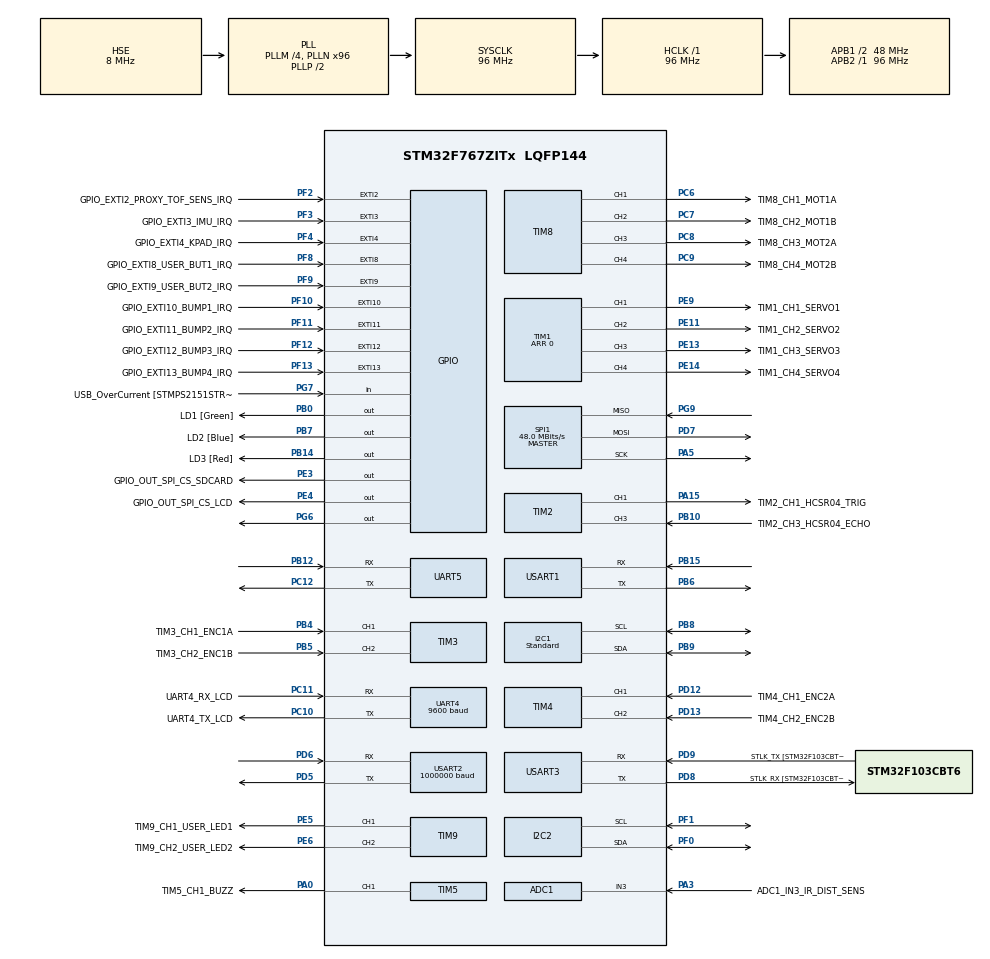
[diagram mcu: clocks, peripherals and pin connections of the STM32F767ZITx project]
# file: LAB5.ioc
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ADC1.Channel-1\#ChannelRegularConversion=ADC_CHANNEL_3
ADC1.NbrOfConversionFlag=1
ADC1.Rank-1\#ChannelRegularConversion=1
ADC1.SamplingTime-1\#ChannelRegularConversion=ADC_SAMPLETIME_3CYCLES
ADC1.master=1
FREERTOS.BinarySemaphores01=binarySemSync,Dynamic,NULL
FREERTOS.Tasks01=defaultTask,24,128,StartDefaultTask,Default,NULL,Dynamic,NULL,NULL;controlTask,48,128,StartControlTask,Default,NULL,Dynamic,NULL,NULL;lineTask,32,128,StartLineTask,Default,NULL,Dynamic,NULL,NULL;commTask,8,128,StartCommTask,Default,NULL,Dynamic,NULL,NULL
I2C1.I2C_Speed_Mode=I2C_Standard
I2C1.Timing=0x20303E5D
I2C2.Timing=0x20303E5D
Mcu.Family=STM32F7
Mcu.Name=STM32F767ZITx
Mcu.Package=LQFP144
Mcu.UserConstants=TIM3_ARR_VALUE,3839;TIM4_ARR_VALUE,3839;TIM8_PSC_VALUE,959;TIM8_ARR_VALUE,399;TIM6_PSC_VALUE,959;TIM6_ARR_VALUE,999;TIM1_PSC_VALUE,959;TIM1_ARR_VALUE,1999
NVIC.PriorityGroup=NVIC_PRIORITYGROUP_4
NVIC.TIM4_IRQn=true\:5\:0\:false\:false\:true\:true\:true\:true\:true
NVIC.TIM6_DAC_IRQn=true\:15\:0\:false\:false\:true\:false\:true\:true\:true
NVIC.TimeBase=TIM6_DAC_IRQn
NVIC.TimeBaseIP=TIM6
PA0/WKUP.GPIO_Label=TIM5_CH1_BUZZ
PA0/WKUP.Signal=S_TIM5_CH1
PA1.GPIO_Label=RMII_REF_CLK [LAN8742A-CZ-TR_REFCLK0]
PA1.Signal=ETH_REF_CLK
PA10.GPIO_Label=USB_ID
PA10.Signal=USB_OTG_FS_ID
PA11.GPIO_Label=USB_DM
PA11.Signal=USB_OTG_FS_DM
PA12.GPIO_Label=USB_DP
PA12.Signal=USB_OTG_FS_DP
PA13.GPIO_Label=TMS
PA13.Mode=Serial_Wire
PA13.Signal=SYS_JTMS-SWDIO
PA14.GPIO_Label=TCK
PA14.Mode=Serial_Wire
PA14.Signal=SYS_JTCK-SWCLK
PA15.GPIO_Label=TIM2_CH1_HCSR04_TRIG
PA15.Signal=S_TIM2_CH1_ETR
PA2.GPIO_Label=RMII_MDIO [LAN8742A-CZ-TR_MDIO]
PA2.Signal=ETH_MDIO
PA3.GPIO_Label=ADC1_IN3_IR_DIST_SENS
PA3.Signal=ADCx_IN3
PA5.Mode=Full_Duplex_Master
PA5.Signal=SPI1_SCK
PA7.GPIO_Label=RMII_CRS_DV [LAN8742A-CZ-TR_CRS_DV]
PA7.Signal=ETH_CRS_DV
PA8.GPIO_Label=USB_SOF [TP1]
PA8.Signal=USB_OTG_FS_SOF
PA9.GPIO_Label=USB_VBUS
PA9.Signal=USB_OTG_FS_VBUS
PB0.GPIO_Label=LD1 [Green]
PB0.Signal=GPIO_Output
PB10.GPIO_Label=TIM2_CH3_HCSR04_ECHO
PB10.Signal=S_TIM2_CH3
PB12.Mode=Asynchronous
PB12.Signal=UART5_RX
PB13.GPIO_Label=RMII_TXD1 [LAN8742A-CZ-TR_TXD1]
PB13.Signal=ETH_TXD1
PB14.GPIO_Label=LD3 [Red]
PB14.Signal=GPIO_Output
PB15.Mode=Asynchronous
PB15.Signal=USART1_RX
PB3.GPIO_Label=SWO
PB3.Signal=SYS_JTDO-SWO
PB4.GPIO_Label=TIM3_CH1_ENC1A
PB4.Signal=S_TIM3_CH1
PB5.GPIO_Label=TIM3_CH2_ENC1B
PB5.Signal=S_TIM3_CH2
PB6.Mode=Asynchronous
PB6.Signal=USART1_TX
PB7.GPIO_Label=LD2 [Blue]
PB7.Signal=GPIO_Output
PB8.GPIO_Pu=GPIO_PULLUP
PB8.Mode=I2C
PB8.Signal=I2C1_SCL
PB9.GPIO_Pu=GPIO_PULLUP
PB9.Mode=I2C
PB9.Signal=I2C1_SDA
PC1.GPIO_Label=RMII_MDC [LAN8742A-CZ-TR_MDC]
PC1.Signal=ETH_MDC
PC10.GPIO_Label=UART4_TX_LCD
PC10.Mode=Asynchronous
PC10.Signal=UART4_TX
PC11.GPIO_Label=UART4_RX_LCD
PC11.Mode=Asynchronous
PC11.Signal=UART4_RX
PC12.Mode=Asynchronous
PC12.Signal=UART5_TX
PC14/OSC32_IN.Mode=LSE-External-Oscillator
PC14/OSC32_IN.Signal=RCC_OSC32_IN
PC15/OSC32_OUT.Mode=LSE-External-Oscillator
PC15/OSC32_OUT.Signal=RCC_OSC32_OUT
PC4.GPIO_Label=RMII_RXD0 [LAN8742A-CZ-TR_RXD0]
PC4.Signal=ETH_RXD0
PC5.GPIO_Label=RMII_RXD1 [LAN8742A-CZ-TR_RXD1]
PC5.Signal=ETH_RXD1
PC6.GPIO_Label=TIM8_CH1_MOT1A
PC6.Signal=S_TIM8_CH1
PC7.GPIO_Label=TIM8_CH2_MOT1B
PC7.Signal=S_TIM8_CH2
PC8.GPIO_Label=TIM8_CH3_MOT2A
PC8.Signal=S_TIM8_CH3
PC9.GPIO_Label=TIM8_CH4_MOT2B
PC9.Signal=S_TIM8_CH4
PD12.GPIO_Label=TIM4_CH1_ENC2A
PD12.Signal=S_TIM4_CH1
PD13.GPIO_Label=TIM4_CH2_ENC2B
PD13.Signal=S_TIM4_CH2
PD5.Mode=Asynchronous
PD5.Signal=USART2_TX
PD6.Mode=Asynchronous
PD6.Signal=USART2_RX
PD7.Mode=Full_Duplex_Master
PD7.Signal=SPI1_MOSI
PD8.GPIO_Label=STLK_RX [STM32F103CBT6_PA3]
PD8.Mode=Asynchronous
PD8.Signal=USART3_TX
PD9.GPIO_Label=STLK_TX [STM32F103CBT6_PA2]
PD9.Mode=Asynchronous
PD9.Signal=USART3_RX
PE11.GPIO_Label=TIM1_CH2_SERVO2
PE11.Signal=S_TIM1_CH2
PE13.GPIO_Label=TIM1_CH3_SERVO3
PE13.Signal=S_TIM1_CH3
PE14.GPIO_Label=TIM1_CH4_SERVO4
PE14.Signal=S_TIM1_CH4
PE3.GPIO_Label=GPIO_OUT_SPI_CS_SDCARD
PE3.Signal=GPIO_Output
PE4.GPIO_Label=GPIO_OUT_SPI_CS_LCD
PE4.Signal=GPIO_Output
PE5.GPIO_Label=TIM9_CH1_USER_LED1
PE5.Signal=S_TIM9_CH1
PE6.GPIO_Label=TIM9_CH2_USER_LED2
PE6.Signal=S_TIM9_CH2
PE9.GPIO_Label=TIM1_CH1_SERVO1
PE9.Signal=S_TIM1_CH1
PF0.GPIO_Pu=GPIO_PULLUP
PF0.Mode=I2C
PF0.Signal=I2C2_SDA
PF1.GPIO_Pu=GPIO_PULLUP
PF1.Mode=I2C
PF1.Signal=I2C2_SCL
PF10.GPIO_Label=GPIO_EXTI10_BUMP1_IRQ
PF10.Signal=GPXTI10
PF11.GPIO_Label=GPIO_EXTI11_BUMP2_IRQ
PF11.Signal=GPXTI11
PF12.GPIO_Label=GPIO_EXTI12_BUMP3_IRQ
PF12.Signal=GPXTI12
PF13.GPIO_Label=GPIO_EXTI13_BUMP4_IRQ
PF13.Signal=GPXTI13
PF2.GPIO_Label=GPIO_EXTI2_PROXY_TOF_SENS_IRQ
PF2.Signal=GPXTI2
PF3.GPIO_Label=GPIO_EXTI3_IMU_IRQ
PF3.Signal=GPXTI3
PF4.GPIO_Label=GPIO_EXTI4_KPAD_IRQ
PF4.Signal=GPXTI4
PF8.GPIO_Label=GPIO_EXTI8_USER_BUT1_IRQ
PF8.Signal=GPXTI8
PF9.GPIO_Label=GPIO_EXTI9_USER_BUT2_IRQ
PF9.Signal=GPXTI9
PG11.GPIO_Label=RMII_TX_EN [LAN8742A-CZ-TR_TXEN]
PG11.Signal=ETH_TX_EN
PG13.GPIO_Label=RMII_TXD0 [LAN8742A-CZ-TR_TXD0]
PG13.Signal=ETH_TXD0
PG6.Signal=GPIO_Output
PG7.GPIO_Label=USB_OverCurrent [STMPS2151STR_FAULT]
PG7.Signal=GPIO_Input
PG9.Mode=Full_Duplex_Master
PG9.Signal=SPI1_MISO
PH0/OSC_IN.GPIO_Label=MCO [STM32F103CBT6_PA8]
PH0/OSC_IN.Mode=HSE-External-Clock-Source
PH0/OSC_IN.Signal=RCC_OSC_IN
PH1/OSC_OUT.Mode=HSE-External-Clock-Source
PH1/OSC_OUT.Signal=RCC_OSC_OUT
ProjectManager.HeapSize=0x200
ProjectManager.StackSize=0x400
ProjectManager.TargetToolchain=STM32CubeIDE
RCC.48MHZClocksFreq_Value=24000000
RCC.AHBFreq_Value=96000000
RCC.APB1CLKDivider=RCC_HCLK_DIV2
RCC.APB1Freq_Value=48000000
RCC.APB1TimFreq_Value=96000000
RCC.APB2Freq_Value=96000000
RCC.APB2TimFreq_Value=96000000
RCC.CortexFreq_Value=96000000
RCC.HCLKFreq_Value=96000000
RCC.HSE_VALUE=8000000
RCC.HSI_VALUE=16000000
RCC.PLLM=4
RCC.PLLMUL=RCC_PLL_MUL9
RCC.PLLN=96
RCC.PLLQ=4
RCC.PLLSourceVirtual=RCC_PLLSOURCE_HSE
RCC.PRESCALERUSB=RCC_USBCLKSOURCE_PLL_DIV1_5
RCC.SYSCLKFreq_VALUE=96000000
RCC.SYSCLKSource=RCC_SYSCLKSOURCE_PLLCLK
RCC.SYSCLKSourceVirtual=RCC_SYSCLKSOURCE_PLLCLK
RCC.USBFreq_Value=48000000
RCC.VCOOutputFreq_Value=192000000
SH.ADCx_IN3.0=ADC1_IN3,IN3
SH.S_TIM1_CH1.0=TIM1_CH1,Forced Output1 CH1
SH.S_TIM1_CH2.0=TIM1_CH2,Forced Output2 CH2
SH.S_TIM1_CH3.0=TIM1_CH3,Forced Output3 CH3
SH.S_TIM1_CH4.0=TIM1_CH4,Forced Output4 CH4
SH.S_TIM2_CH1_ETR.0=TIM2_CH1,PWM Generation1 CH1
SH.S_TIM2_CH3.0=TIM2_CH3,Input_Capture3_from_TI3
SH.S_TIM3_CH1.0=TIM3_CH1,Encoder_Interface
SH.S_TIM3_CH2.0=TIM3_CH2,Encoder_Interface
SH.S_TIM4_CH1.0=TIM4_CH1,Encoder_Interface
SH.S_TIM4_CH2.0=TIM4_CH2,Encoder_Interface
SH.S_TIM5_CH1.0=TIM5_CH1,PWM Generation1 CH1
SH.S_TIM8_CH1.0=TIM8_CH1,PWM Generation1 CH1
SH.S_TIM8_CH2.0=TIM8_CH2,PWM Generation2 CH2
SH.S_TIM8_CH3.0=TIM8_CH3,PWM Generation3 CH3
SH.S_TIM8_CH4.0=TIM8_CH4,PWM Generation4 CH4
SH.S_TIM9_CH1.0=TIM9_CH1,PWM Generation1 CH1
SH.S_TIM9_CH2.0=TIM9_CH2,PWM Generation2 CH2
SPI1.CalculateBaudRate=48.0 MBits/s
SPI1.Direction=SPI_DIRECTION_2LINES
SPI1.Mode=SPI_MODE_MASTER
SPI1.VirtualType=VM_MASTER
TIM1.Channel-Forced\ Output1\ CH1=TIM_CHANNEL_1
TIM1.Channel-Forced\ Output2\ CH2=TIM_CHANNEL_2
TIM1.Channel-Forced\ Output3\ CH3=TIM_CHANNEL_3
TIM1.Channel-Forced\ Output4\ CH4=TIM_CHANNEL_4
TIM1.OCPolarity_1=TIM_OCPOLARITY_LOW
TIM1.OCPolarity_2=TIM_OCPOLARITY_LOW
TIM1.OCPolarity_3=TIM_OCPOLARITY_LOW
TIM1.OCPolarity_4=TIM_OCPOLARITY_LOW
TIM1.Period=0
TIM2.Channel-Input_Capture3_from_TI3=TIM_CHANNEL_3
TIM2.Channel-PWM\ Generation1\ CH1=TIM_CHANNEL_1
TIM3.EncoderMode=TIM_ENCODERMODE_TI12
TIM3.IC1Filter=15
TIM3.IC2Filter=15
TIM3.Period=TIM3_ARR_VALUE
TIM4.EncoderMode=TIM_ENCODERMODE_TI12
TIM4.IC1Filter=15
TIM4.IC2Filter=15
TIM4.Period=TIM4_ARR_VALUE
TIM5.Channel-PWM\ Generation1\ CH1=TIM_CHANNEL_1
TIM8.Channel-PWM\ Generation1\ CH1=TIM_CHANNEL_1
TIM8.Channel-PWM\ Generation2\ CH2=TIM_CHANNEL_2
TIM8.Channel-PWM\ Generation3\ CH3=TIM_CHANNEL_3
TIM8.Channel-PWM\ Generation4\ CH4=TIM_CHANNEL_4
TIM8.Period=TIM8_ARR_VALUE
TIM8.Prescaler=TIM8_PSC_VALUE
TIM9.Channel-PWM\ Generation1\ CH1=TIM_CHANNEL_1
TIM9.Channel-PWM\ Generation2\ CH2=TIM_CHANNEL_2
UART4.BaudRate=9600
USART1.VirtualMode-Asynchronous=VM_ASYNC
USART2.BaudRate=1000000
USART2.VirtualMode-Asynchronous=VM_ASYNC
USART3.VirtualMode-Asynchronous=VM_ASYNC
VP_FREERTOS_VS_CMSIS_V2.Mode=CMSIS_V2
VP_SYS_VS_tim6.Mode=TIM6
VP_TIM1_VS_ClockSourceINT.Mode=Internal
VP_TIM2_VS_ClockSourceINT.Mode=Internal
VP_TIM5_VS_ClockSourceINT.Mode=Internal
VP_TIM8_VS_ClockSourceINT.Mode=Internal
board=NUCLEO-F767ZI

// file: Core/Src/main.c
/* USER CODE BEGIN Header */
/**
  ******************************************************************************
  * @file           : main.c
  * @brief          : Main program body
  ******************************************************************************
  * @attention
  *
  * <h2><center>&copy; Copyright (c) 2021 STMicroelectronics.
  * All rights reserved.</center></h2>
  *
  * This software component is licensed by ST under BSD 3-Clause license,
  * the "License"; You may not use this file except in compliance with the
  * License. You may obtain a copy of the License at:
  *                        opensource.org/licenses/BSD-3-Clause
  *
  ******************************************************************************
  */
/* USER CODE END Header */
#include "main.h"
#include "cmsis_os.h"

/* USER CODE BEGIN Includes */
#include <math.h>
#include <stdbool.h>
#include <stdlib.h>
#include "ertc-datalogger.h"
#include "SX1509_Registers.h"
/* USER CODE END Includes */

/* USER CODE BEGIN PD */

#define TS	0.01

#define VBATT	8.0
#define V2DUTY	((float)(TIM8_ARR_VALUE+1)/VBATT)
#define DUTY2V	((float)VBATT/(TIM8_ARR_VALUE+1))

#define RPM2RADS	2*M_PI/60
/* USER CODE END PD */

ADC_HandleTypeDef hadc1;

I2C_HandleTypeDef hi2c1;
I2C_HandleTypeDef hi2c2;

SPI_HandleTypeDef hspi1;

TIM_HandleTypeDef htim1;
TIM_HandleTypeDef htim2;
TIM_HandleTypeDef htim3;
TIM_HandleTypeDef htim4;
TIM_HandleTypeDef htim5;
TIM_HandleTypeDef htim8;
TIM_HandleTypeDef htim9;

UART_HandleTypeDef huart4;
UART_HandleTypeDef huart5;
UART_HandleTypeDef huart1;
UART_HandleTypeDef huart2;
UART_HandleTypeDef huart3;

/* Definitions for defaultTask */
osThreadId_t defaultTaskHandle;
const osThreadAttr_t defaultTask_attributes = {
  .name = "defaultTask",
  .stack_size = 128 * 4,
  .priority = (osPriority_t) osPriorityNormal,
};
/* Definitions for controlTask */
osThreadId_t controlTaskHandle;
const osThreadAttr_t controlTask_attributes = {
  .name = "controlTask",
  .stack_size = 128 * 4,
  .priority = (osPriority_t) osPriorityRealtime,
};
/* Definitions for lineTask */
osThreadId_t lineTaskHandle;
const osThreadAttr_t lineTask_attributes = {
  .name = "lineTask",
  .stack_size = 128 * 4,
  .priority = (osPriority_t) osPriorityAboveNormal,
};
/* Definitions for commTask */
osThreadId_t commTaskHandle;
const osThreadAttr_t commTask_attributes = {
  .name = "commTask",
  .stack_size = 128 * 4,
  .priority = (osPriority_t) osPriorityLow,
};
/* Definitions for binarySemSync */
osSemaphoreId_t binarySemSyncHandle;
const osSemaphoreAttr_t binarySemSync_attributes = {
  .name = "binarySemSync"
};
/* USER CODE BEGIN PV */
struct ertc_dlog logger;

uint16_t SX1509_I2C_ADDR1 = 0x3E;
uint16_t SX1509_I2C_ADDR2 = 0x3F;
uint32_t I2C_TIMEOUT = 200;

const char keypadLayout[4][4] = {
    {'*', '0', '#', 'D'},
    {'7', '8', '9', 'C'},
    {'4', '5', '6', 'B'},
    {'1', '2', '3', 'A'}};
/* USER CODE END PV */

void SystemClock_Config(void);
static void MX_GPIO_Init(void);
static void MX_USART3_UART_Init(void);
static void MX_ADC1_Init(void);
static void MX_I2C1_Init(void);
static void MX_I2C2_Init(void);
static void MX_SPI1_Init(void);
static void MX_TIM1_Init(void);
static void MX_TIM2_Init(void);
static void MX_TIM3_Init(void);
static void MX_TIM4_Init(void);
static void MX_TIM5_Init(void);
static void MX_TIM8_Init(void);
static void MX_UART4_Init(void);
static void MX_UART5_Init(void);
static void MX_USART1_UART_Init(void);
static void MX_USART2_UART_Init(void);
static void MX_TIM9_Init(void);
void StartDefaultTask(void *argument);
void StartControlTask(void *argument);
void StartLineTask(void *argument);
void StartCommTask(void *argument);

/* USER CODE BEGIN PFP */
extern void initialise_monitor_handles(void);
/* USER CODE END PFP */

/* USER CODE BEGIN 0 */

#define D 0.165
#define H 0.085
#define R 0.034
#define P 0.008
#define V 0.1

//const float Kp = 1.0;
//const float Ki = 15.0;
//const float Kw = 2.0;
float Kp = 0.489;		// 1
float Ki = 0.64;
float Kw = 8.0;
float Ky = 0.0;

float reference_r = 0.0;
float reference_l = 0.0;

float w_r = 0.0;
float w_l = 0.0;

float error_r = 0.0;
float error_l = 0.0;

float SL_error = 0.0;

struct datalog {
	float reference_r, w_r, error_r;
	float reference_l, w_l, error_l;
	float e_sl;
} data_log;

float compute_speed(TIM_HandleTypeDef* htim, uint32_t* TIM_PreviousCount, uint32_t TIM_ARR_VALUE) {

	uint32_t TIM_CurrentCount = __HAL_TIM_GET_COUNTER(htim);
	int32_t TIM_DiffCount;

	// evaluate increment of TIM counter from previous count
	if (__HAL_TIM_IS_TIM_COUNTING_DOWN(htim)) {
		// check for counter underflow
		if (TIM_CurrentCount <= *TIM_PreviousCount)
			TIM_DiffCount = TIM_CurrentCount - *TIM_PreviousCount;
		else
			TIM_DiffCount = -((TIM_ARR_VALUE+1) - TIM_CurrentCount) - *TIM_PreviousCount;
	} else {
		// check for counter overflow
		if (TIM_CurrentCount >= *TIM_PreviousCount)
			TIM_DiffCount = TIM_CurrentCount - *TIM_PreviousCount;
		else
			TIM_DiffCount = ((TIM_ARR_VALUE+1) - *TIM_PreviousCount) + TIM_CurrentCount;
	}

	*TIM_PreviousCount = TIM_CurrentCount;

	//	Return speed in rpm
	float speed_rads = ((2*M_PI*120)/(3840.0*TS))*(float)TIM_DiffCount;
	float speed_rpm = speed_rads/RPM2RADS;

	return speed_rpm;
}

float saturate(float u, float min, float max) {
	if (u > max) return max;
	if (u < min) return min;
	return u;
}

float PI(float error, float* u_int, bool antiwindup) {
	float u_p = Kp*error;
	*u_int += Ki*error*TS;

	float u = u_p + *u_int;

	if (antiwindup) {
		float saturation = u - saturate(u, 1-VBATT, VBATT-1);
		*u_int -= saturation*Kw*TS;
		u = u_p + *u_int;
	}

	return saturate(u, 1-VBATT, VBATT-1);
}

void set_motor_speed(TIM_HandleTypeDef* htim, uint32_t channel_1, uint32_t channel_2, uint32_t duty, bool fwd_coast) {
    if (duty >= 0) {
        if (fwd_coast) {
            // alternate between forward and coast
            __HAL_TIM_SET_COMPARE(htim, channel_1, (uint32_t)duty);
            __HAL_TIM_SET_COMPARE(htim, channel_2, 0);
        } else {
            // alternate between forward and brake, TIM8_ARR_VALUE is a define
            __HAL_TIM_SET_COMPARE(htim, channel_1, (uint32_t)TIM8_ARR_VALUE);
            __HAL_TIM_SET_COMPARE(htim, channel_2, TIM8_ARR_VALUE - duty);
        }
    } else { // rotate backward
        if (fwd_coast) {
            __HAL_TIM_SET_COMPARE(htim, channel_1, 0);
            __HAL_TIM_SET_COMPARE(htim, channel_2, (uint32_t) - duty);
        } else {
            __HAL_TIM_SET_COMPARE(htim, channel_1, TIM8_ARR_VALUE + duty);
            __HAL_TIM_SET_COMPARE(htim, channel_2, (uint32_t)TIM8_ARR_VALUE);
        }
    }
}

float compute_SL_error() {
	uint8_t line_sensor_data = 0;

	HAL_I2C_Mem_Read(&hi2c1, SX1509_I2C_ADDR1 << 1, REG_DATA_B, 1, &line_sensor_data, 1, I2C_TIMEOUT);

	static uint8_t sensor_array[8] = {0, 0, 0, 1, 1, 0, 0, 0};

	float den_sum = 0.0;
	float num_sum = 0.0;

	if (line_sensor_data != 0) {
		for (uint8_t i=0; i<8; i++) {
			sensor_array[i] = line_sensor_data & 1;
			line_sensor_data >>= 1;
		}
	}

	for (uint8_t i=0; i<8; i++) {
		num_sum += (float)sensor_array[i]*(3.5 - i)*P;
		den_sum += (float)sensor_array[i];
	}

	return num_sum/den_sum;
}

float linear_controller(float input, float K) {
	return input*K;
}

float speed_controller(float SL_error, float max_speed) {
	float cV = max_speed;

	if(fabs(SL_error) > 0.01)
		cV = max_speed*(-5*SL_error + 1.5);

	return cV;
}

void complex_controller(float SL_error) {
	if(fabs(SL_error) > 0.01 && fabs(SL_error) < 0.02) {
		Kp = 1.0;
		Ki = 4.0;
		Ky = 6.0;
	} else if (fabs(SL_error) > 0.02) {
		// DEFAULT VALUES TO IMPLEMENT
	}
}

/* USER CODE END 0 */

int main(void)
{
  /* USER CODE BEGIN 1 */
  uint8_t data;
  /* USER CODE END 1 */

  /* MCU Configuration--------------------------------------------------------*/

  /* Reset of all peripherals, Initializes the Flash interface and the Systick. */
  HAL_Init();

  /* Configure the system clock */
  SystemClock_Config();

  /* USER CODE BEGIN SysInit */
  initialise_monitor_handles();
  /* USER CODE END SysInit */

  /* Initialize all configured peripherals */
  MX_GPIO_Init();
  MX_USART3_UART_Init();
  MX_ADC1_Init();
  MX_I2C1_Init();
  MX_I2C2_Init();
  MX_SPI1_Init();
  MX_TIM1_Init();
  MX_TIM2_Init();
  MX_TIM3_Init();
  MX_TIM4_Init();
  MX_TIM5_Init();
  MX_TIM8_Init();
  MX_UART4_Init();
  MX_UART5_Init();
  MX_USART1_UART_Init();
  MX_USART2_UART_Init();
  MX_TIM9_Init();
  /* USER CODE BEGIN 2 */
  /* Disable LCD SPI SS */

  HAL_GPIO_WritePin(GPIO_OUT_SPI_CS_LCD_GPIO_Port, GPIO_OUT_SPI_CS_LCD_Pin, GPIO_PIN_SET);

  /* Disable EXTI4_IRQ during SX1509 initialization */
  HAL_NVIC_DisableIRQ(EXTI4_IRQn);

  /* Software reset */
  data = 0x12;
  HAL_I2C_Mem_Write(&hi2c1, SX1509_I2C_ADDR2 << 1, REG_RESET, 1, &data, 1, I2C_TIMEOUT);

  data = 0x34;
  HAL_I2C_Mem_Write(&hi2c1, SX1509_I2C_ADDR2 << 1, REG_RESET, 1, &data, 1, I2C_TIMEOUT);

  HAL_Delay(100);

  /* Set KeyPad scanning engine */

  /* Set RegClock to 0x40 (enable internal oscillator; 2MHz freq) */
  data = 0x40;
  HAL_I2C_Mem_Write(&hi2c1, SX1509_I2C_ADDR2 << 1, REG_CLOCK, 1, &data, 1, I2C_TIMEOUT);

  /* Set Bank A RegDir to 0xF0 (IO[0:3] as out) */
  data = 0xF0;
  HAL_I2C_Mem_Write(&hi2c1, SX1509_I2C_ADDR2 << 1, REG_DIR_A, 1, &data, 1, I2C_TIMEOUT);

  /* Set Bank B RegDir to 0x0F (IO[8:11] as in) */
  data = 0x0F;
  HAL_I2C_Mem_Write(&hi2c1, SX1509_I2C_ADDR2 << 1, REG_DIR_B, 1, &data, 1, I2C_TIMEOUT);

  /* Set Bank A RegOpenDrain to 0x0F (IO[0:3] as open-drain outputs) */
  data = 0x0F;
  HAL_I2C_Mem_Write(&hi2c1, SX1509_I2C_ADDR2 << 1, REG_OPEN_DRAIN_A, 1, &data, 1, I2C_TIMEOUT);

  /* Set Bank B RegPullup to 0x0F (pull-ups enabled on inputs IO[8:11]) */
  data = 0x0F;
  HAL_I2C_Mem_Write(&hi2c1, SX1509_I2C_ADDR2 << 1, REG_PULL_UP_B, 1, &data, 1, I2C_TIMEOUT);

  /* Set Bank B RegDebounceEnable to 0x0F (enable debouncing on IO[8:11]) */
  data = 0x0F;
  HAL_I2C_Mem_Write(&hi2c1, SX1509_I2C_ADDR2 << 1, REG_DEBOUNCE_ENABLE_B, 1, &data, 1, I2C_TIMEOUT);

  /* Set RegDebounceConfig to 0x05 (16ms debounce time) */
  data = 0x05;
  HAL_I2C_Mem_Write(&hi2c1, SX1509_I2C_ADDR2 << 1, REG_DEBOUNCE_CONFIG, 1, &data, 1, I2C_TIMEOUT);

  /* Set RegKeyConfig1 to 0x7D (8s auto-sleep; 32ms scan time per row) */
  data = 0x7D;
  HAL_I2C_Mem_Write(&hi2c1, SX1509_I2C_ADDR2 << 1, REG_KEY_CONFIG_1, 1, &data, 1, I2C_TIMEOUT);

  /* Set RegKeyConfig2 to 0x1B (4 rows; 4 columns) */
  data = 0x1B;
  HAL_I2C_Mem_Write(&hi2c1, SX1509_I2C_ADDR2 << 1, REG_KEY_CONFIG_2, 1, &data, 1, I2C_TIMEOUT);

  /* Enable EXTI4_IRQ after SX1509 initialization */
  HAL_Delay(100);
  HAL_NVIC_EnableIRQ(EXTI4_IRQn);

  /* Disable EXTI2_IRQ during SX1509 initialization */
  HAL_NVIC_DisableIRQ(EXTI2_IRQn);

  /* Software reset */
  data = 0x12;
  HAL_I2C_Mem_Write(&hi2c1, SX1509_I2C_ADDR1 << 1, REG_RESET, 1, &data, 1, I2C_TIMEOUT);

  data = 0x34;
  HAL_I2C_Mem_Write(&hi2c1, SX1509_I2C_ADDR1 << 1, REG_RESET, 1, &data, 1, I2C_TIMEOUT);

  HAL_Delay(100);

  /* Set RegDirA to 0xFF (all IO of Bank A configured as inputs) */
  data = 0xFF; // 0 = out; 1 = in
  HAL_I2C_Mem_Write(&hi2c1, SX1509_I2C_ADDR1 << 1, REG_DIR_A, 1, &data, 1, I2C_TIMEOUT);

  /* Set RegDirB to 0xFF (all IO of Bank B configured as inputs) */
  data = 0xFF; // 0 = out; 1 = in
  HAL_I2C_Mem_Write(&hi2c1, SX1509_I2C_ADDR1 << 1, REG_DIR_B, 1, &data, 1, I2C_TIMEOUT);

  /* Set RegInterruptMaskA to 0x00 (all IO of Bank A will trigger an interrupt) */
  data = 0x00;
  HAL_I2C_Mem_Write(&hi2c1, SX1509_I2C_ADDR1 << 1, REG_INTERRUPT_MASK_A, 1, &data, 1, I2C_TIMEOUT);

  /* Set RegSenseHighA to 0xAA (IO[7:4] of Bank A will trigger an interrupt on falling edge) */
  data = 0xAA;
  HAL_I2C_Mem_Write(&hi2c1, SX1509_I2C_ADDR1 << 1, REG_SENSE_HIGH_A, 1, &data, 1, I2C_TIMEOUT);

  /* Set RegSenseLowA to 0xAA (IO[3:0] of Bank A will trigger an interrupt on falling edge) */
  data = 0xAA;
  HAL_I2C_Mem_Write(&hi2c1, SX1509_I2C_ADDR1 << 1, REG_SENSE_LOW_A, 1, &data, 1, I2C_TIMEOUT);

  /* Enable EXTI2_IRQ after SX1509 initialization */
  HAL_Delay(100);
  //HAL_NVIC_EnableIRQ(EXTI2_IRQn);

  //logger.uart_handle = huart3; // for serial
  logger.uart_handle = huart2; // for wifi

  /* Reset LCD */
  HAL_GPIO_WritePin(GPIO_OUT_SPI_CS_LCD_GPIO_Port, GPIO_OUT_SPI_CS_LCD_Pin, GPIO_PIN_SET);

  HAL_Delay(1000);

  /* Start encoders timers */
  HAL_TIM_Encoder_Start(&htim3, TIM_CHANNEL_ALL);
  HAL_TIM_Encoder_Start(&htim4, TIM_CHANNEL_ALL);

  /* Start servomotors PWM (avoid floating inputs to servomotors) */
  HAL_TIM_PWM_Start(&htim1, TIM_CHANNEL_1);
  HAL_TIM_PWM_Start(&htim1, TIM_CHANNEL_2);
  HAL_TIM_PWM_Start(&htim1, TIM_CHANNEL_3);
  HAL_TIM_PWM_Start(&htim1, TIM_CHANNEL_4);

  /* Start motor PWM */
  __HAL_TIM_SET_COMPARE(&htim8, TIM_CHANNEL_1, 0);
  __HAL_TIM_SET_COMPARE(&htim8, TIM_CHANNEL_2, 0);
  __HAL_TIM_SET_COMPARE(&htim8, TIM_CHANNEL_3, 0);
  __HAL_TIM_SET_COMPARE(&htim8, TIM_CHANNEL_4, 0);

  HAL_TIM_PWM_Start(&htim8, TIM_CHANNEL_1);
  HAL_TIM_PWM_Start(&htim8, TIM_CHANNEL_2);
  HAL_TIM_PWM_Start(&htim8, TIM_CHANNEL_3);
  HAL_TIM_PWM_Start(&htim8, TIM_CHANNEL_4);

  /* Start speed ctrl ISR */

  /* USER CODE END 2 */

  /* Init scheduler */
  osKernelInitialize();

  /* Create the semaphores(s) */
  /* creation of binarySemSync */
  binarySemSyncHandle = osSemaphoreNew(1, 1, &binarySemSync_attributes);

  /* Create the thread(s) */
  /* creation of defaultTask */
  defaultTaskHandle = osThreadNew(StartDefaultTask, NULL, &defaultTask_attributes);

  /* creation of controlTask */
  controlTaskHandle = osThreadNew(StartControlTask, NULL, &controlTask_attributes);

  /* creation of lineTask */
  lineTaskHandle = osThreadNew(StartLineTask, NULL, &lineTask_attributes);

  /* creation of commTask */
  commTaskHandle = osThreadNew(StartCommTask, NULL, &commTask_attributes);

  /* Start scheduler */
  osKernelStart();

  /* We should never get here as control is now taken by the scheduler */
  /* Infinite loop */
  while (1)
  {

  }
}

void SystemClock_Config(void)
{
  RCC_OscInitTypeDef RCC_OscInitStruct = {0};
  RCC_ClkInitTypeDef RCC_ClkInitStruct = {0};

  /** Configure LSE Drive Capability
  */
  HAL_PWR_EnableBkUpAccess();

  /** Configure the main internal regulator output voltage
  */
  __HAL_RCC_PWR_CLK_ENABLE();
  __HAL_PWR_VOLTAGESCALING_CONFIG(PWR_REGULATOR_VOLTAGE_SCALE3);

  /** Initializes the RCC Oscillators according to the specified parameters
  * in the RCC_OscInitTypeDef structure.
  */
  RCC_OscInitStruct.OscillatorType = RCC_OSCILLATORTYPE_HSE;
  RCC_OscInitStruct.HSEState = RCC_HSE_BYPASS;
  RCC_OscInitStruct.PLL.PLLState = RCC_PLL_ON;
  RCC_OscInitStruct.PLL.PLLSource = RCC_PLLSOURCE_HSE;
  RCC_OscInitStruct.PLL.PLLM = 4;
  RCC_OscInitStruct.PLL.PLLN = 96;
  RCC_OscInitStruct.PLL.PLLP = RCC_PLLP_DIV2;
  RCC_OscInitStruct.PLL.PLLQ = 4;
  RCC_OscInitStruct.PLL.PLLR = 2;
  if (HAL_RCC_OscConfig(&RCC_OscInitStruct) != HAL_OK)
  {
    Error_Handler();
  }

  /** Activate the Over-Drive mode
  */
  if (HAL_PWREx_EnableOverDrive() != HAL_OK)
  {
    Error_Handler();
  }

  /** Initializes the CPU, AHB and APB buses clocks
  */
  RCC_ClkInitStruct.ClockType = RCC_CLOCKTYPE_HCLK|RCC_CLOCKTYPE_SYSCLK
                              |RCC_CLOCKTYPE_PCLK1|RCC_CLOCKTYPE_PCLK2;
  RCC_ClkInitStruct.SYSCLKSource = RCC_SYSCLKSOURCE_PLLCLK;
  RCC_ClkInitStruct.AHBCLKDivider = RCC_SYSCLK_DIV1;
  RCC_ClkInitStruct.APB1CLKDivider = RCC_HCLK_DIV2;
  RCC_ClkInitStruct.APB2CLKDivider = RCC_HCLK_DIV1;

  if (HAL_RCC_ClockConfig(&RCC_ClkInitStruct, FLASH_LATENCY_3) != HAL_OK)
  {
    Error_Handler();
  }
}

static void MX_ADC1_Init(void)
{

  ADC_ChannelConfTypeDef sConfig = {0};

  /** Configure the global features of the ADC (Clock, Resolution, Data Alignment and number of conversion)
  */
  hadc1.Instance = ADC1;
  hadc1.Init.ClockPrescaler = ADC_CLOCK_SYNC_PCLK_DIV4;
  hadc1.Init.Resolution = ADC_RESOLUTION_12B;
  hadc1.Init.ScanConvMode = ADC_SCAN_DISABLE;
  hadc1.Init.ContinuousConvMode = DISABLE;
  hadc1.Init.DiscontinuousConvMode = DISABLE;
  hadc1.Init.ExternalTrigConvEdge = ADC_EXTERNALTRIGCONVEDGE_NONE;
  hadc1.Init.ExternalTrigConv = ADC_SOFTWARE_START;
  hadc1.Init.DataAlign = ADC_DATAALIGN_RIGHT;
  hadc1.Init.NbrOfConversion = 1;
  hadc1.Init.DMAContinuousRequests = DISABLE;
  hadc1.Init.EOCSelection = ADC_EOC_SINGLE_CONV;
  if (HAL_ADC_Init(&hadc1) != HAL_OK)
  {
    Error_Handler();
  }

  /** Configure for the selected ADC regular channel its corresponding rank in the sequencer and its sample time.
  */
  sConfig.Channel = ADC_CHANNEL_3;
  sConfig.Rank = ADC_REGULAR_RANK_1;
  sConfig.SamplingTime = ADC_SAMPLETIME_3CYCLES;
  if (HAL_ADC_ConfigChannel(&hadc1, &sConfig) != HAL_OK)
  {
    Error_Handler();
  }

}

static void MX_I2C1_Init(void)
{

  hi2c1.Instance = I2C1;
  hi2c1.Init.Timing = 0x20303E5D;
  hi2c1.Init.OwnAddress1 = 0;
  hi2c1.Init.AddressingMode = I2C_ADDRESSINGMODE_7BIT;
  hi2c1.Init.DualAddressMode = I2C_DUALADDRESS_DISABLE;
  hi2c1.Init.OwnAddress2 = 0;
  hi2c1.Init.OwnAddress2Masks = I2C_OA2_NOMASK;
  hi2c1.Init.GeneralCallMode = I2C_GENERALCALL_DISABLE;
  hi2c1.Init.NoStretchMode = I2C_NOSTRETCH_DISABLE;
  if (HAL_I2C_Init(&hi2c1) != HAL_OK)
  {
    Error_Handler();
  }

  /** Configure Analogue filter
  */
  if (HAL_I2CEx_ConfigAnalogFilter(&hi2c1, I2C_ANALOGFILTER_ENABLE) != HAL_OK)
  {
    Error_Handler();
  }

  /** Configure Digital filter
  */
  if (HAL_I2CEx_ConfigDigitalFilter(&hi2c1, 0) != HAL_OK)
  {
    Error_Handler();
  }

}

static void MX_I2C2_Init(void)
{

  hi2c2.Instance = I2C2;
  hi2c2.Init.Timing = 0x20303E5D;
  hi2c2.Init.OwnAddress1 = 0;
  hi2c2.Init.AddressingMode = I2C_ADDRESSINGMODE_7BIT;
  hi2c2.Init.DualAddressMode = I2C_DUALADDRESS_DISABLE;
  hi2c2.Init.OwnAddress2 = 0;
  hi2c2.Init.OwnAddress2Masks = I2C_OA2_NOMASK;
  hi2c2.Init.GeneralCallMode = I2C_GENERALCALL_DISABLE;
  hi2c2.Init.NoStretchMode = I2C_NOSTRETCH_DISABLE;
  if (HAL_I2C_Init(&hi2c2) != HAL_OK)
  {
    Error_Handler();
  }

  /** Configure Analogue filter
  */
  if (HAL_I2CEx_ConfigAnalogFilter(&hi2c2, I2C_ANALOGFILTER_ENABLE) != HAL_OK)
  {
    Error_Handler();
  }

  /** Configure Digital filter
  */
  if (HAL_I2CEx_ConfigDigitalFilter(&hi2c2, 0) != HAL_OK)
  {
    Error_Handler();
  }

}

static void MX_SPI1_Init(void)
{

  /* SPI1 parameter configuration*/
  hspi1.Instance = SPI1;
  hspi1.Init.Mode = SPI_MODE_MASTER;
  hspi1.Init.Direction = SPI_DIRECTION_2LINES;
  hspi1.Init.DataSize = SPI_DATASIZE_4BIT;
  hspi1.Init.CLKPolarity = SPI_POLARITY_LOW;
  hspi1.Init.CLKPhase = SPI_PHASE_1EDGE;
  hspi1.Init.NSS = SPI_NSS_SOFT;
  hspi1.Init.BaudRatePrescaler = SPI_BAUDRATEPRESCALER_2;
  hspi1.Init.FirstBit = SPI_FIRSTBIT_MSB;
  hspi1.Init.TIMode = SPI_TIMODE_DISABLE;
  hspi1.Init.CRCCalculation = SPI_CRCCALCULATION_DISABLE;
  hspi1.Init.CRCPolynomial = 7;
  hspi1.Init.CRCLength = SPI_CRC_LENGTH_DATASIZE;
  hspi1.Init.NSSPMode = SPI_NSS_PULSE_ENABLE;
  if (HAL_SPI_Init(&hspi1) != HAL_OK)
  {
    Error_Handler();
  }

}

static void MX_TIM1_Init(void)
{

  TIM_ClockConfigTypeDef sClockSourceConfig = {0};
  TIM_MasterConfigTypeDef sMasterConfig = {0};
  TIM_OC_InitTypeDef sConfigOC = {0};
  TIM_BreakDeadTimeConfigTypeDef sBreakDeadTimeConfig = {0};

  htim1.Instance = TIM1;
  htim1.Init.Prescaler = 0;
  htim1.Init.CounterMode = TIM_COUNTERMODE_UP;
  htim1.Init.Period = 0;
  htim1.Init.ClockDivision = TIM_CLOCKDIVISION_DIV1;
  htim1.Init.RepetitionCounter = 0;
  htim1.Init.AutoReloadPreload = TIM_AUTORELOAD_PRELOAD_DISABLE;
  if (HAL_TIM_Base_Init(&htim1) != HAL_OK)
  {
    Error_Handler();
  }
  sClockSourceConfig.ClockSource = TIM_CLOCKSOURCE_INTERNAL;
  if (HAL_TIM_ConfigClockSource(&htim1, &sClockSourceConfig) != HAL_OK)
  {
    Error_Handler();
  }
  if (HAL_TIM_OC_Init(&htim1) != HAL_OK)
  {
    Error_Handler();
  }
  sMasterConfig.MasterOutputTrigger = TIM_TRGO_RESET;
  sMasterConfig.MasterOutputTrigger2 = TIM_TRGO2_RESET;
  sMasterConfig.MasterSlaveMode = TIM_MASTERSLAVEMODE_DISABLE;
  if (HAL_TIMEx_MasterConfigSynchronization(&htim1, &sMasterConfig) != HAL_OK)
  {
    Error_Handler();
  }
  sConfigOC.OCMode = TIM_OCMODE_FORCED_ACTIVE;
  sConfigOC.Pulse = 0;
  sConfigOC.OCPolarity = TIM_OCPOLARITY_LOW;
  sConfigOC.OCNPolarity = TIM_OCNPOLARITY_HIGH;
  sConfigOC.OCFastMode = TIM_OCFAST_DISABLE;
  sConfigOC.OCIdleState = TIM_OCIDLESTATE_RESET;
  sConfigOC.OCNIdleState = TIM_OCNIDLESTATE_RESET;
  if (HAL_TIM_OC_ConfigChannel(&htim1, &sConfigOC, TIM_CHANNEL_1) != HAL_OK)
  {
    Error_Handler();
  }
  if (HAL_TIM_OC_ConfigChannel(&htim1, &sConfigOC, TIM_CHANNEL_2) != HAL_OK)
  {
    Error_Handler();
  }
  if (HAL_TIM_OC_ConfigChannel(&htim1, &sConfigOC, TIM_CHANNEL_3) != HAL_OK)
  {
    Error_Handler();
  }
  if (HAL_TIM_OC_ConfigChannel(&htim1, &sConfigOC, TIM_CHANNEL_4) != HAL_OK)
  {
    Error_Handler();
  }
  sBreakDeadTimeConfig.OffStateRunMode = TIM_OSSR_DISABLE;
  sBreakDeadTimeConfig.OffStateIDLEMode = TIM_OSSI_DISABLE;
  sBreakDeadTimeConfig.LockLevel = TIM_LOCKLEVEL_OFF;
  sBreakDeadTimeConfig.DeadTime = 0;
  sBreakDeadTimeConfig.BreakState = TIM_BREAK_DISABLE;
  sBreakDeadTimeConfig.BreakPolarity = TIM_BREAKPOLARITY_HIGH;
  sBreakDeadTimeConfig.BreakFilter = 0;
  sBreakDeadTimeConfig.Break2State = TIM_BREAK2_DISABLE;
  sBreakDeadTimeConfig.Break2Polarity = TIM_BREAK2POLARITY_HIGH;
  sBreakDeadTimeConfig.Break2Filter = 0;
  sBreakDeadTimeConfig.AutomaticOutput = TIM_AUTOMATICOUTPUT_DISABLE;
  if (HAL_TIMEx_ConfigBreakDeadTime(&htim1, &sBreakDeadTimeConfig) != HAL_OK)
  {
    Error_Handler();
  }
  HAL_TIM_MspPostInit(&htim1);

}

static void MX_TIM2_Init(void)
{

  TIM_ClockConfigTypeDef sClockSourceConfig = {0};
  TIM_MasterConfigTypeDef sMasterConfig = {0};
  TIM_OC_InitTypeDef sConfigOC = {0};
  TIM_IC_InitTypeDef sConfigIC = {0};

  htim2.Instance = TIM2;
  htim2.Init.Prescaler = 0;
  htim2.Init.CounterMode = TIM_COUNTERMODE_UP;
  htim2.Init.Period = 4294967295;
  htim2.Init.ClockDivision = TIM_CLOCKDIVISION_DIV1;
  htim2.Init.AutoReloadPreload = TIM_AUTORELOAD_PRELOAD_DISABLE;
  if (HAL_TIM_Base_Init(&htim2) != HAL_OK)
  {
    Error_Handler();
  }
  sClockSourceConfig.ClockSource = TIM_CLOCKSOURCE_INTERNAL;
  if (HAL_TIM_ConfigClockSource(&htim2, &sClockSourceConfig) != HAL_OK)
  {
    Error_Handler();
  }
  if (HAL_TIM_PWM_Init(&htim2) != HAL_OK)
  {
    Error_Handler();
  }
  if (HAL_TIM_IC_Init(&htim2) != HAL_OK)
  {
    Error_Handler();
  }
  sMasterConfig.MasterOutputTrigger = TIM_TRGO_RESET;
  sMasterConfig.MasterSlaveMode = TIM_MASTERSLAVEMODE_DISABLE;
  if (HAL_TIMEx_MasterConfigSynchronization(&htim2, &sMasterConfig) != HAL_OK)
  {
    Error_Handler();
  }
  sConfigOC.OCMode = TIM_OCMODE_PWM1;
  sConfigOC.Pulse = 0;
  sConfigOC.OCPolarity = TIM_OCPOLARITY_HIGH;
  sConfigOC.OCFastMode = TIM_OCFAST_DISABLE;
  if (HAL_TIM_PWM_ConfigChannel(&htim2, &sConfigOC, TIM_CHANNEL_1) != HAL_OK)
  {
    Error_Handler();
  }
  sConfigIC.ICPolarity = TIM_INPUTCHANNELPOLARITY_RISING;
  sConfigIC.ICSelection = TIM_ICSELECTION_DIRECTTI;
  sConfigIC.ICPrescaler = TIM_ICPSC_DIV1;
  sConfigIC.ICFilter = 0;
  if (HAL_TIM_IC_ConfigChannel(&htim2, &sConfigIC, TIM_CHANNEL_3) != HAL_OK)
  {
    Error_Handler();
  }
  HAL_TIM_MspPostInit(&htim2);

}

static void MX_TIM3_Init(void)
{

  TIM_Encoder_InitTypeDef sConfig = {0};
  TIM_MasterConfigTypeDef sMasterConfig = {0};

  htim3.Instance = TIM3;
  htim3.Init.Prescaler = 0;
  htim3.Init.CounterMode = TIM_COUNTERMODE_UP;
  htim3.Init.Period = TIM3_ARR_VALUE;
  htim3.Init.ClockDivision = TIM_CLOCKDIVISION_DIV1;
  htim3.Init.AutoReloadPreload = TIM_AUTORELOAD_PRELOAD_DISABLE;
  sConfig.EncoderMode = TIM_ENCODERMODE_TI12;
  sConfig.IC1Polarity = TIM_ICPOLARITY_RISING;
  sConfig.IC1Selection = TIM_ICSELECTION_DIRECTTI;
  sConfig.IC1Prescaler = TIM_ICPSC_DIV1;
  sConfig.IC1Filter = 15;
  sConfig.IC2Polarity = TIM_ICPOLARITY_RISING;
  sConfig.IC2Selection = TIM_ICSELECTION_DIRECTTI;
  sConfig.IC2Prescaler = TIM_ICPSC_DIV1;
  sConfig.IC2Filter = 15;
  if (HAL_TIM_Encoder_Init(&htim3, &sConfig) != HAL_OK)
  {
    Error_Handler();
  }
  sMasterConfig.MasterOutputTrigger = TIM_TRGO_RESET;
  sMasterConfig.MasterSlaveMode = TIM_MASTERSLAVEMODE_DISABLE;
  if (HAL_TIMEx_MasterConfigSynchronization(&htim3, &sMasterConfig) != HAL_OK)
  {
    Error_Handler();
  }

}

static void MX_TIM4_Init(void)
{

  TIM_Encoder_InitTypeDef sConfig = {0};
  TIM_MasterConfigTypeDef sMasterConfig = {0};

  htim4.Instance = TIM4;
  htim4.Init.Prescaler = 0;
  htim4.Init.CounterMode = TIM_COUNTERMODE_UP;
  htim4.Init.Period = TIM4_ARR_VALUE;
  htim4.Init.ClockDivision = TIM_CLOCKDIVISION_DIV1;
  htim4.Init.AutoReloadPreload = TIM_AUTORELOAD_PRELOAD_DISABLE;
  sConfig.EncoderMode = TIM_ENCODERMODE_TI12;
  sConfig.IC1Polarity = TIM_ICPOLARITY_RISING;
  sConfig.IC1Selection = TIM_ICSELECTION_DIRECTTI;
  sConfig.IC1Prescaler = TIM_ICPSC_DIV1;
  sConfig.IC1Filter = 15;
  sConfig.IC2Polarity = TIM_ICPOLARITY_RISING;
  sConfig.IC2Selection = TIM_ICSELECTION_DIRECTTI;
  sConfig.IC2Prescaler = TIM_ICPSC_DIV1;
  sConfig.IC2Filter = 15;
  if (HAL_TIM_Encoder_Init(&htim4, &sConfig) != HAL_OK)
  {
    Error_Handler();
  }
  sMasterConfig.MasterOutputTrigger = TIM_TRGO_RESET;
  sMasterConfig.MasterSlaveMode = TIM_MASTERSLAVEMODE_DISABLE;
  if (HAL_TIMEx_MasterConfigSynchronization(&htim4, &sMasterConfig) != HAL_OK)
  {
    Error_Handler();
  }

}

static void MX_TIM5_Init(void)
{

  TIM_ClockConfigTypeDef sClockSourceConfig = {0};
  TIM_MasterConfigTypeDef sMasterConfig = {0};
  TIM_OC_InitTypeDef sConfigOC = {0};

  htim5.Instance = TIM5;
  htim5.Init.Prescaler = 0;
  htim5.Init.CounterMode = TIM_COUNTERMODE_UP;
  htim5.Init.Period = 4294967295;
  htim5.Init.ClockDivision = TIM_CLOCKDIVISION_DIV1;
  htim5.Init.AutoReloadPreload = TIM_AUTORELOAD_PRELOAD_DISABLE;
  if (HAL_TIM_Base_Init(&htim5) != HAL_OK)
  {
    Error_Handler();
  }
  sClockSourceConfig.ClockSource = TIM_CLOCKSOURCE_INTERNAL;
  if (HAL_TIM_ConfigClockSource(&htim5, &sClockSourceConfig) != HAL_OK)
  {
    Error_Handler();
  }
  if (HAL_TIM_PWM_Init(&htim5) != HAL_OK)
  {
    Error_Handler();
  }
  sMasterConfig.MasterOutputTrigger = TIM_TRGO_RESET;
  sMasterConfig.MasterSlaveMode = TIM_MASTERSLAVEMODE_DISABLE;
  if (HAL_TIMEx_MasterConfigSynchronization(&htim5, &sMasterConfig) != HAL_OK)
  {
    Error_Handler();
  }
  sConfigOC.OCMode = TIM_OCMODE_PWM1;
  sConfigOC.Pulse = 0;
  sConfigOC.OCPolarity = TIM_OCPOLARITY_HIGH;
  sConfigOC.OCFastMode = TIM_OCFAST_DISABLE;
  if (HAL_TIM_PWM_ConfigChannel(&htim5, &sConfigOC, TIM_CHANNEL_1) != HAL_OK)
  {
    Error_Handler();
  }
  HAL_TIM_MspPostInit(&htim5);

}

static void MX_TIM8_Init(void)
{

  TIM_ClockConfigTypeDef sClockSourceConfig = {0};
  TIM_MasterConfigTypeDef sMasterConfig = {0};
  TIM_OC_InitTypeDef sConfigOC = {0};
  TIM_BreakDeadTimeConfigTypeDef sBreakDeadTimeConfig = {0};

  htim8.Instance = TIM8;
  htim8.Init.Prescaler = TIM8_PSC_VALUE;
  htim8.Init.CounterMode = TIM_COUNTERMODE_UP;
  htim8.Init.Period = TIM8_ARR_VALUE;
  htim8.Init.ClockDivision = TIM_CLOCKDIVISION_DIV1;
  htim8.Init.RepetitionCounter = 0;
  htim8.Init.AutoReloadPreload = TIM_AUTORELOAD_PRELOAD_DISABLE;
  if (HAL_TIM_Base_Init(&htim8) != HAL_OK)
  {
    Error_Handler();
  }
  sClockSourceConfig.ClockSource = TIM_CLOCKSOURCE_INTERNAL;
  if (HAL_TIM_ConfigClockSource(&htim8, &sClockSourceConfig) != HAL_OK)
  {
    Error_Handler();
  }
  if (HAL_TIM_PWM_Init(&htim8) != HAL_OK)
  {
    Error_Handler();
  }
  sMasterConfig.MasterOutputTrigger = TIM_TRGO_RESET;
  sMasterConfig.MasterOutputTrigger2 = TIM_TRGO2_RESET;
  sMasterConfig.MasterSlaveMode = TIM_MASTERSLAVEMODE_DISABLE;
  if (HAL_TIMEx_MasterConfigSynchronization(&htim8, &sMasterConfig) != HAL_OK)
  {
    Error_Handler();
  }
  sConfigOC.OCMode = TIM_OCMODE_PWM1;
  sConfigOC.Pulse = 0;
  sConfigOC.OCPolarity = TIM_OCPOLARITY_HIGH;
  sConfigOC.OCNPolarity = TIM_OCNPOLARITY_HIGH;
  sConfigOC.OCFastMode = TIM_OCFAST_DISABLE;
  sConfigOC.OCIdleState = TIM_OCIDLESTATE_RESET;
  sConfigOC.OCNIdleState = TIM_OCNIDLESTATE_RESET;
  if (HAL_TIM_PWM_ConfigChannel(&htim8, &sConfigOC, TIM_CHANNEL_1) != HAL_OK)
  {
    Error_Handler();
  }
  if (HAL_TIM_PWM_ConfigChannel(&htim8, &sConfigOC, TIM_CHANNEL_2) != HAL_OK)
  {
    Error_Handler();
  }
  if (HAL_TIM_PWM_ConfigChannel(&htim8, &sConfigOC, TIM_CHANNEL_3) != HAL_OK)
  {
    Error_Handler();
  }
  if (HAL_TIM_PWM_ConfigChannel(&htim8, &sConfigOC, TIM_CHANNEL_4) != HAL_OK)
  {
    Error_Handler();
  }
  sBreakDeadTimeConfig.OffStateRunMode = TIM_OSSR_DISABLE;
  sBreakDeadTimeConfig.OffStateIDLEMode = TIM_OSSI_DISABLE;
  sBreakDeadTimeConfig.LockLevel = TIM_LOCKLEVEL_OFF;
  sBreakDeadTimeConfig.DeadTime = 0;
  sBreakDeadTimeConfig.BreakState = TIM_BREAK_DISABLE;
  sBreakDeadTimeConfig.BreakPolarity = TIM_BREAKPOLARITY_HIGH;
  sBreakDeadTimeConfig.BreakFilter = 0;
  sBreakDeadTimeConfig.Break2State = TIM_BREAK2_DISABLE;
  sBreakDeadTimeConfig.Break2Polarity = TIM_BREAK2POLARITY_HIGH;
  sBreakDeadTimeConfig.Break2Filter = 0;
  sBreakDeadTimeConfig.AutomaticOutput = TIM_AUTOMATICOUTPUT_DISABLE;
  if (HAL_TIMEx_ConfigBreakDeadTime(&htim8, &sBreakDeadTimeConfig) != HAL_OK)
  {
    Error_Handler();
  }
  HAL_TIM_MspPostInit(&htim8);

}

static void MX_TIM9_Init(void)
{

  TIM_OC_InitTypeDef sConfigOC = {0};

  htim9.Instance = TIM9;
  htim9.Init.Prescaler = 0;
  htim9.Init.CounterMode = TIM_COUNTERMODE_UP;
  htim9.Init.Period = 65535;
  htim9.Init.ClockDivision = TIM_CLOCKDIVISION_DIV1;
  htim9.Init.AutoReloadPreload = TIM_AUTORELOAD_PRELOAD_DISABLE;
  if (HAL_TIM_PWM_Init(&htim9) != HAL_OK)
  {
    Error_Handler();
  }
  sConfigOC.OCMode = TIM_OCMODE_PWM1;
  sConfigOC.Pulse = 0;
  sConfigOC.OCPolarity = TIM_OCPOLARITY_HIGH;
  sConfigOC.OCFastMode = TIM_OCFAST_DISABLE;
  if (HAL_TIM_PWM_ConfigChannel(&htim9, &sConfigOC, TIM_CHANNEL_1) != HAL_OK)
  {
    Error_Handler();
  }
  if (HAL_TIM_PWM_ConfigChannel(&htim9, &sConfigOC, TIM_CHANNEL_2) != HAL_OK)
  {
    Error_Handler();
  }
  HAL_TIM_MspPostInit(&htim9);

}

static void MX_UART4_Init(void)
{

  huart4.Instance = UART4;
  huart4.Init.BaudRate = 9600;
  huart4.Init.WordLength = UART_WORDLENGTH_8B;
  huart4.Init.StopBits = UART_STOPBITS_1;
  huart4.Init.Parity = UART_PARITY_NONE;
  huart4.Init.Mode = UART_MODE_TX_RX;
  huart4.Init.HwFlowCtl = UART_HWCONTROL_NONE;
  huart4.Init.OverSampling = UART_OVERSAMPLING_16;
  huart4.Init.OneBitSampling = UART_ONE_BIT_SAMPLE_DISABLE;
  huart4.AdvancedInit.AdvFeatureInit = UART_ADVFEATURE_NO_INIT;
  if (HAL_UART_Init(&huart4) != HAL_OK)
  {
    Error_Handler();
  }

}

static void MX_UART5_Init(void)
{

  huart5.Instance = UART5;
  huart5.Init.BaudRate = 115200;
  huart5.Init.WordLength = UART_WORDLENGTH_8B;
  huart5.Init.StopBits = UART_STOPBITS_1;
  huart5.Init.Parity = UART_PARITY_NONE;
  huart5.Init.Mode = UART_MODE_TX_RX;
  huart5.Init.HwFlowCtl = UART_HWCONTROL_NONE;
  huart5.Init.OverSampling = UART_OVERSAMPLING_16;
  huart5.Init.OneBitSampling = UART_ONE_BIT_SAMPLE_DISABLE;
  huart5.AdvancedInit.AdvFeatureInit = UART_ADVFEATURE_NO_INIT;
  if (HAL_UART_Init(&huart5) != HAL_OK)
  {
    Error_Handler();
  }

}

static void MX_USART1_UART_Init(void)
{

  huart1.Instance = USART1;
  huart1.Init.BaudRate = 115200;
  huart1.Init.WordLength = UART_WORDLENGTH_8B;
  huart1.Init.StopBits = UART_STOPBITS_1;
  huart1.Init.Parity = UART_PARITY_NONE;
  huart1.Init.Mode = UART_MODE_TX_RX;
  huart1.Init.HwFlowCtl = UART_HWCONTROL_NONE;
  huart1.Init.OverSampling = UART_OVERSAMPLING_16;
  huart1.Init.OneBitSampling = UART_ONE_BIT_SAMPLE_DISABLE;
  huart1.AdvancedInit.AdvFeatureInit = UART_ADVFEATURE_NO_INIT;
  if (HAL_UART_Init(&huart1) != HAL_OK)
  {
    Error_Handler();
  }

}

static void MX_USART2_UART_Init(void)
{

  huart2.Instance = USART2;
  huart2.Init.BaudRate = 1000000;
  huart2.Init.WordLength = UART_WORDLENGTH_8B;
  huart2.Init.StopBits = UART_STOPBITS_1;
  huart2.Init.Parity = UART_PARITY_NONE;
  huart2.Init.Mode = UART_MODE_TX_RX;
  huart2.Init.HwFlowCtl = UART_HWCONTROL_NONE;
  huart2.Init.OverSampling = UART_OVERSAMPLING_16;
  huart2.Init.OneBitSampling = UART_ONE_BIT_SAMPLE_DISABLE;
  huart2.AdvancedInit.AdvFeatureInit = UART_ADVFEATURE_NO_INIT;
  if (HAL_UART_Init(&huart2) != HAL_OK)
  {
    Error_Handler();
  }

}

static void MX_USART3_UART_Init(void)
{

  huart3.Instance = USART3;
  huart3.Init.BaudRate = 115200;
  huart3.Init.WordLength = UART_WORDLENGTH_8B;
  huart3.Init.StopBits = UART_STOPBITS_1;
  huart3.Init.Parity = UART_PARITY_NONE;
  huart3.Init.Mode = UART_MODE_TX_RX;
  huart3.Init.HwFlowCtl = UART_HWCONTROL_NONE;
  huart3.Init.OverSampling = UART_OVERSAMPLING_16;
  huart3.Init.OneBitSampling = UART_ONE_BIT_SAMPLE_DISABLE;
  huart3.AdvancedInit.AdvFeatureInit = UART_ADVFEATURE_NO_INIT;
  if (HAL_UART_Init(&huart3) != HAL_OK)
  {
    Error_Handler();
  }

}

static void MX_GPIO_Init(void)
{
  GPIO_InitTypeDef GPIO_InitStruct = {0};

  /* GPIO Ports Clock Enable */
  __HAL_RCC_GPIOE_CLK_ENABLE();
  __HAL_RCC_GPIOC_CLK_ENABLE();
  __HAL_RCC_GPIOF_CLK_ENABLE();
  __HAL_RCC_GPIOH_CLK_ENABLE();
  __HAL_RCC_GPIOA_CLK_ENABLE();
  __HAL_RCC_GPIOB_CLK_ENABLE();
  __HAL_RCC_GPIOD_CLK_ENABLE();
  __HAL_RCC_GPIOG_CLK_ENABLE();

  /*Configure GPIO pin Output Level */
  HAL_GPIO_WritePin(GPIOE, GPIO_OUT_SPI_CS_SDCARD_Pin|GPIO_OUT_SPI_CS_LCD_Pin, GPIO_PIN_RESET);

  /*Configure GPIO pin Output Level */
  HAL_GPIO_WritePin(GPIOB, LD1_Pin|LD3_Pin|LD2_Pin, GPIO_PIN_RESET);

  /*Configure GPIO pin Output Level */
  HAL_GPIO_WritePin(GPIOG, GPIO_PIN_6, GPIO_PIN_RESET);

  /*Configure GPIO pins : GPIO_OUT_SPI_CS_SDCARD_Pin GPIO_OUT_SPI_CS_LCD_Pin */
  GPIO_InitStruct.Pin = GPIO_OUT_SPI_CS_SDCARD_Pin|GPIO_OUT_SPI_CS_LCD_Pin;
  GPIO_InitStruct.Mode = GPIO_MODE_OUTPUT_PP;
  GPIO_InitStruct.Pull = GPIO_NOPULL;
  GPIO_InitStruct.Speed = GPIO_SPEED_FREQ_LOW;
  HAL_GPIO_Init(GPIOE, &GPIO_InitStruct);

  /*Configure GPIO pins : GPIO_EXTI2_PROXY_TOF_SENS_IRQ_Pin GPIO_EXTI3_IMU_IRQ_Pin GPIO_EXTI4_KPAD_IRQ_Pin GPIO_EXTI8_USER_BUT1_IRQ_Pin
                           GPIO_EXTI9_USER_BUT2_IRQ_Pin GPIO_EXTI10_BUMP1_IRQ_Pin GPIO_EXTI11_BUMP2_IRQ_Pin GPIO_EXTI12_BUMP3_IRQ_Pin
                           GPIO_EXTI13_BUMP4_IRQ_Pin */
  GPIO_InitStruct.Pin = GPIO_EXTI2_PROXY_TOF_SENS_IRQ_Pin|GPIO_EXTI3_IMU_IRQ_Pin|GPIO_EXTI4_KPAD_IRQ_Pin|GPIO_EXTI8_USER_BUT1_IRQ_Pin
                          |GPIO_EXTI9_USER_BUT2_IRQ_Pin|GPIO_EXTI10_BUMP1_IRQ_Pin|GPIO_EXTI11_BUMP2_IRQ_Pin|GPIO_EXTI12_BUMP3_IRQ_Pin
                          |GPIO_EXTI13_BUMP4_IRQ_Pin;
  GPIO_InitStruct.Mode = GPIO_MODE_IT_RISING;
  GPIO_InitStruct.Pull = GPIO_NOPULL;
  HAL_GPIO_Init(GPIOF, &GPIO_InitStruct);

  /*Configure GPIO pins : RMII_MDC_Pin RMII_RXD0_Pin RMII_RXD1_Pin */
  GPIO_InitStruct.Pin = RMII_MDC_Pin|RMII_RXD0_Pin|RMII_RXD1_Pin;
  GPIO_InitStruct.Mode = GPIO_MODE_AF_PP;
  GPIO_InitStruct.Pull = GPIO_NOPULL;
  GPIO_InitStruct.Speed = GPIO_SPEED_FREQ_VERY_HIGH;
  GPIO_InitStruct.Alternate = GPIO_AF11_ETH;
  HAL_GPIO_Init(GPIOC, &GPIO_InitStruct);

  /*Configure GPIO pins : RMII_REF_CLK_Pin RMII_MDIO_Pin RMII_CRS_DV_Pin */
  GPIO_InitStruct.Pin = RMII_REF_CLK_Pin|RMII_MDIO_Pin|RMII_CRS_DV_Pin;
  GPIO_InitStruct.Mode = GPIO_MODE_AF_PP;
  GPIO_InitStruct.Pull = GPIO_NOPULL;
  GPIO_InitStruct.Speed = GPIO_SPEED_FREQ_VERY_HIGH;
  GPIO_InitStruct.Alternate = GPIO_AF11_ETH;
  HAL_GPIO_Init(GPIOA, &GPIO_InitStruct);

  /*Configure GPIO pins : LD1_Pin LD3_Pin LD2_Pin */
  GPIO_InitStruct.Pin = LD1_Pin|LD3_Pin|LD2_Pin;
  GPIO_InitStruct.Mode = GPIO_MODE_OUTPUT_PP;
  GPIO_InitStruct.Pull = GPIO_NOPULL;
  GPIO_InitStruct.Speed = GPIO_SPEED_FREQ_LOW;
  HAL_GPIO_Init(GPIOB, &GPIO_InitStruct);

  /*Configure GPIO pin : RMII_TXD1_Pin */
  GPIO_InitStruct.Pin = RMII_TXD1_Pin;
  GPIO_InitStruct.Mode = GPIO_MODE_AF_PP;
  GPIO_InitStruct.Pull = GPIO_NOPULL;
  GPIO_InitStruct.Speed = GPIO_SPEED_FREQ_VERY_HIGH;
  GPIO_InitStruct.Alternate = GPIO_AF11_ETH;
  HAL_GPIO_Init(RMII_TXD1_GPIO_Port, &GPIO_InitStruct);

  /*Configure GPIO pin : PG6 */
  GPIO_InitStruct.Pin = GPIO_PIN_6;
  GPIO_InitStruct.Mode = GPIO_MODE_OUTPUT_PP;
  GPIO_InitStruct.Pull = GPIO_NOPULL;
  GPIO_InitStruct.Speed = GPIO_SPEED_FREQ_LOW;
  HAL_GPIO_Init(GPIOG, &GPIO_InitStruct);

  /*Configure GPIO pin : USB_OverCurrent_Pin */
  GPIO_InitStruct.Pin = USB_OverCurrent_Pin;
  GPIO_InitStruct.Mode = GPIO_MODE_INPUT;
  GPIO_InitStruct.Pull = GPIO_NOPULL;
  HAL_GPIO_Init(USB_OverCurrent_GPIO_Port, &GPIO_InitStruct);

  /*Configure GPIO pins : USB_SOF_Pin USB_ID_Pin USB_DM_Pin USB_DP_Pin */
  GPIO_InitStruct.Pin = USB_SOF_Pin|USB_ID_Pin|USB_DM_Pin|USB_DP_Pin;
  GPIO_InitStruct.Mode = GPIO_MODE_AF_PP;
  GPIO_InitStruct.Pull = GPIO_NOPULL;
  GPIO_InitStruct.Speed = GPIO_SPEED_FREQ_VERY_HIGH;
  GPIO_InitStruct.Alternate = GPIO_AF10_OTG_FS;
  HAL_GPIO_Init(GPIOA, &GPIO_InitStruct);

  /*Configure GPIO pin : USB_VBUS_Pin */
  GPIO_InitStruct.Pin = USB_VBUS_Pin;
  GPIO_InitStruct.Mode = GPIO_MODE_INPUT;
  GPIO_InitStruct.Pull = GPIO_NOPULL;
  HAL_GPIO_Init(USB_VBUS_GPIO_Port, &GPIO_InitStruct);

  /*Configure GPIO pins : RMII_TX_EN_Pin RMII_TXD0_Pin */
  GPIO_InitStruct.Pin = RMII_TX_EN_Pin|RMII_TXD0_Pin;
  GPIO_InitStruct.Mode = GPIO_MODE_AF_PP;
  GPIO_InitStruct.Pull = GPIO_NOPULL;
  GPIO_InitStruct.Speed = GPIO_SPEED_FREQ_VERY_HIGH;
  GPIO_InitStruct.Alternate = GPIO_AF11_ETH;
  HAL_GPIO_Init(GPIOG, &GPIO_InitStruct);

}

void StartDefaultTask(void *argument)
{
  for(;;)
  {
    osDelay(1);
  }
}

void StartControlTask(void *argument)
{
  /* USER CODE BEGIN StartControlTask */
	/* Infinite loop */
	for(;;) {

		osSemaphoreAcquire(binarySemSyncHandle, osWaitForever);

		// ENCODER READING
		static uint32_t TIM3_PreviousCount = 0;
		w_r = compute_speed(&htim3, &TIM3_PreviousCount, TIM3_ARR_VALUE);

		static uint32_t TIM4_PreviousCount = 0;
		w_l = compute_speed(&htim4, &TIM4_PreviousCount, TIM4_ARR_VALUE);

		// YAW LINEAR CONTROLLER
		Ky = 15.0;
		float yaw_dot = linear_controller(SL_error/H, Ky);

		// SPEED CONTROLLER
		float cV = speed_controller(SL_error, V);

		reference_r = saturate((cV + yaw_dot*D/2.0)/(R*RPM2RADS), 0, 100);
		reference_l = saturate((cV - yaw_dot*D/2.0)/(R*RPM2RADS), 0, 100);

		// SIGNAL ERROR
		error_r = reference_r - w_r;
		error_l = reference_l - w_l;

		// CONTROLLER INPUT
		static float u_int_r = 0;
		float u_r = PI(error_r, &u_int_r, true);

		static float u_int_l = 0;
		float u_l = PI(error_l, &u_int_l, true);

		uint32_t duty_r = (uint32_t)V2DUTY*u_r;
		uint32_t duty_l = (uint32_t)V2DUTY*u_l;

		// SETTING THE MOTOR SPEED
		set_motor_speed(&htim8, TIM_CHANNEL_1, TIM_CHANNEL_2, duty_r, false);
		set_motor_speed(&htim8, TIM_CHANNEL_3, TIM_CHANNEL_4, duty_l, false);
	}
  /* USER CODE END StartControlTask */
}

void StartLineTask(void *argument)
{
  /* USER CODE BEGIN StartLineTask */
	/* Infinite loop */
	for(;;) {
		//LINE SENSOR ERROR READING
		SL_error = compute_SL_error();

		// LOGGING
		data_log.reference_r = reference_r;
		data_log.w_r = w_r;
		data_log.error_r = error_r;
		data_log.reference_l = reference_l;
		data_log.w_l = w_l;
		data_log.error_l = error_l;
		data_log.e_sl = SL_error;

		ertc_dlog_send(&logger, &data_log, sizeof(data_log));
		ertc_dlog_update(&logger);

		osSemaphoreRelease(binarySemSyncHandle);

		osDelayUntil(10);
	}
  /* USER CODE END StartLineTask */
}

void StartCommTask(void *argument)
{
  /* USER CODE BEGIN StartCommTask */
	/* Infinite loop */
	for(;;) {

		osDelayUntil(10);
	}
  /* USER CODE END StartCommTask */
}

void HAL_TIM_PeriodElapsedCallback(TIM_HandleTypeDef *htim)
{
  if (htim->Instance == TIM6) {
    HAL_IncTick();
  }
}

void Error_Handler(void)
{
  __disable_irq();
  while (1)
  {
  }
}
